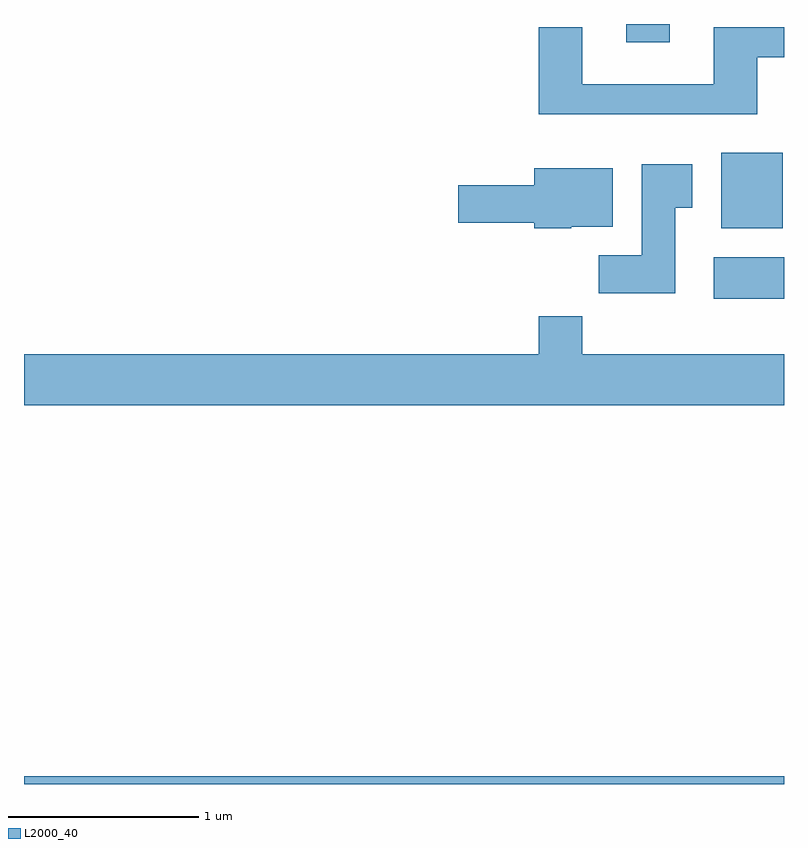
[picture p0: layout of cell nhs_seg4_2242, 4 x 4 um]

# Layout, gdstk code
import gdstk
lib = gdstk.Library(unit=1e-6, precision=1e-09)
def R(c, l, rs):  # rectangles x0, y0, x1, y1
    for r in rs: c.add(gdstk.rectangle(r[:2], r[2:], *l))
def P(c, l, *ps):  # polygons
    for p in ps: c.add(gdstk.Polygon(p, *l))
L2000_40 = (2000, 40)

nhs_seg4_2242 = lib.new_cell('nhs_seg4_2242')
R(nhs_seg4_2242, L2000_40, [(249.611,1385.982,253.611,1386.024), (253.241,1388.536,253.611,1388.754), (253.281,1388.906,253.604,1389.304), (252.781,1389.886,253.009,1389.982)])
P(nhs_seg4_2242, L2000_40, [(253.469,1389.806),(253.611,1389.806),(253.611,1389.964),(253.241,1389.964),(253.241,1389.664),(252.549,1389.664),(252.549,1389.964),(252.321,1389.964),(252.321,1389.506),(253.469,1389.506)],
  [(253.039,1389.016),(253.129,1389.016),(253.129,1389.244),(252.861,1389.244),(252.861,1388.764),(252.636,1388.764),(252.636,1388.566),(253.039,1388.566)],
  [(252.49,1388.916),(252.709,1388.916),(252.709,1389.224),(252.296,1389.224),(252.296,1389.134),(251.896,1389.134),(251.896,1388.936),(252.296,1388.936),(252.296,1388.906),(252.49,1388.906)],
  [(253.611,1388.244),(252.549,1388.244),(252.549,1388.444),(252.321,1388.444),(252.321,1388.244),(249.611,1388.244),(249.611,1387.976),(253.611,1387.976)])

lib.write_gds('nhs_seg4_2242.gds')
